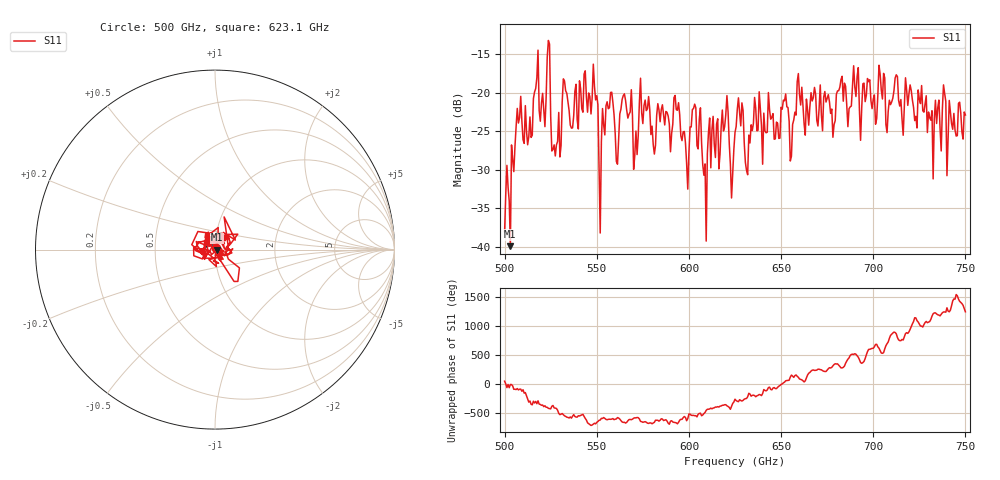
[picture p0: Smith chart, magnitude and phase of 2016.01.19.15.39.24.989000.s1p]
!Created with skrf (http://scikit-rf.org).
# GHz S RI R 50.0
!freq ReS11 ImS11
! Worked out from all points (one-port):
!   401 points, 500 GHz to 750 GHz, reference 50 ohm
!   lowest |S11| = -39.9 dB at 503.1 GHz (marker M1), VSWR 1.02, Z = 51 - j0.0988 ohm
!   |S11| at or under -10 dB: start of sweep to end of sweep
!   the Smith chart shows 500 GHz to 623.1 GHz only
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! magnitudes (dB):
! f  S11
! 500 GHz  -38.0
! 503.1 GHz  -39.9
! 507.5 GHz  -23.9
! 513.8 GHz  -23.1
! 516.9 GHz  -19.5
! 520.6 GHz  -20.1
! 523.8 GHz  -13.2
! 526.9 GHz  -26.8
! 531.2 GHz  -21.2
! 548.8 GHz  -19.2
! 552.5 GHz  -26.4
! 556.9 GHz  -22.0
! 562.5 GHz  -22.7
! 571.2 GHz  -25.0
! 574.4 GHz  -22.6
! 580.6 GHz  -26.7
! 593.8 GHz  -22.3
! 598.8 GHz  -29.1
! 602.5 GHz  -22.0
! 608.8 GHz  -29.2
! 611.9 GHz  -29.7
! 625 GHz  -25.2
! 652.5 GHz  -20.2
! 656.2 GHz  -24.1
! 660 GHz  -20.2
! 687.5 GHz  -21.8
! 718.8 GHz  -21.6
! 750 GHz  -22.9
